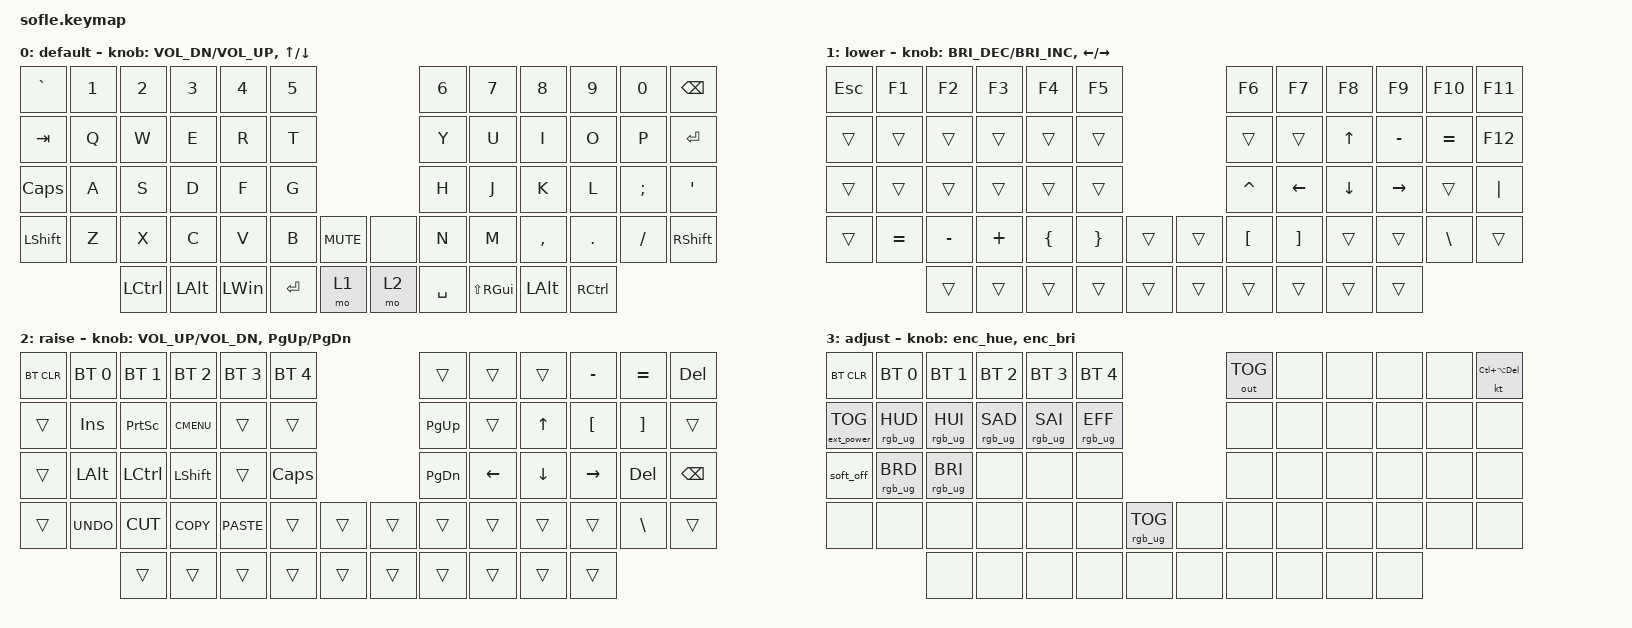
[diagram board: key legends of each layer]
/*
 * Copyright (c) 2020 The ZMK Contributors
 *
 * SPDX-License-Identifier: MIT
 */

#include <behaviors.dtsi>
#include <dt-bindings/zmk/bt.h>
#include <dt-bindings/zmk/ext_power.h>
#include <dt-bindings/zmk/keys.h>
#include <dt-bindings/zmk/outputs.h>
#include <dt-bindings/zmk/rgb.h>

#define BASE 0
#define LOWER 1
#define RAISE 2
#define ADJUST 3

/ {
    /* --------- Encoder rotate behaviors for RGB on ADJUST --------- */

    behaviors {
        enc_hue: enc_hue {
            compatible = "zmk,behavior-sensor-rotate";
            #sensor-binding-cells = <0>;

            /* Hue: increase, decrease */

            bindings = <&rgb_ug RGB_HUI>, <&rgb_ug RGB_HUD>;
        };

        enc_sat: enc_sat {
            compatible = "zmk,behavior-sensor-rotate";
            #sensor-binding-cells = <0>;

            /* Saturation: increase, decrease */

            bindings = <&rgb_ug RGB_SAI>, <&rgb_ug RGB_SAD>;
        };

        enc_bri: enc_bri {
            compatible = "zmk,behavior-sensor-rotate";
            #sensor-binding-cells = <0>;

            /* Brightness: increase, decrease */

            bindings = <&rgb_ug RGB_BRI>, <&rgb_ug RGB_BRD>;
        };

        /* Optional encoder-press helpers (keep #binding-cells for tap behaviors) */

        enc_eff_next: enc_eff_next {
            compatible = "zmk,behavior-tap";
            #binding-cells = <0>;
            bindings = <&rgb_ug RGB_EFF>;   /* Effect next */
        };

        enc_toggle: enc_toggle {
            compatible = "zmk,behavior-tap";
            #binding-cells = <0>;
            bindings = <&rgb_ug RGB_TOG>;   /* Toggle on/off */
        };
    };

    // Activate ADJUST layer by pressing raise and lower

    conditional_layers {
        compatible = "zmk,conditional-layers";

        adjust_layer {
            if-layers = <1 2>;
            then-layer = <3>;
        };
    };

    keymap {
        compatible = "zmk,keymap";

        default_layer {
            display-name = "default";

            // ------------------------------------------------------------------------------------------------------------
            // |   `   |  1  |  2  |  3   |  4   |  5   |                   |  6   |  7    |  8    |  9   |   0   |       |
            // |  ESC  |  Q  |  W  |  E   |  R   |  T   |                   |  Y   |  U    |  I    |  O   |   P   | BKSPC |
            // |  TAB  |  A  |  S  |  D   |  F   |  G   |                   |  H   |  J    |  K    |  L   |   ;   |   '   |
            // | SHIFT |  Z  |  X  |  C   |  V   |  B   |  MUTE  |  |       |  N   |  M    |  ,    |  .   |   /   | SHIFT |
            //               | GUI | ALT  | CTRL | LOWER|  ENTER |  | SPACE | RAISE| CTRL  | ALT   | GUI  |

            bindings = <
&kp GRAVE       &kp N1  &kp N2     &kp N3    &kp N4        &kp N5                          &kp N6     &kp N7             &kp N8        &kp N9     &kp N0    &kp BACKSPACE
&kp TAB         &kp Q   &kp W      &kp E     &kp R         &kp T                           &kp Y      &kp U              &kp I         &kp O      &kp P     &kp ENTER
&kp CAPS        &kp A   &kp S      &kp D     &kp F         &kp G                           &kp H      &kp J              &kp K         &kp L      &kp SEMI  &kp SQT
&kp LEFT_SHIFT  &kp Z   &kp X      &kp C     &kp V         &kp B      &kp C_MUTE    &none  &kp N      &kp M              &kp COMMA     &kp DOT    &kp FSLH  &kp RSHFT
                        &kp LCTRL  &kp LALT  &kp LEFT_WIN  &kp ENTER  &mo 1         &mo 2  &kp SPACE  &kp LS(RIGHT_GUI)  &kp LEFT_ALT  &kp RCTRL
            >;

            /* Your original encoders: Vol up/down (left), Page up/down (right) */

            sensor-bindings =
                <&inc_dec_kp C_VOL_DN C_VOL_UP>,
                <&inc_dec_kp UP_ARROW DOWN_ARROW>;
        };

        lower_layer {
            display-name = "lower";

            // ------------------------------------------------------------------------------------------------------------
            // |       |  F1 |  F2 |  F3  |  F4  |  F5  |                   |  F6  |  F7   |  F8   |  F9  |  F10  |  F11  |
            // |   `   |  1  |  2  |  3   |  4   |  5   |                   |  6   |  7    |  8    |  9   |   0   |  F12  |
            // |       |  !  |  @  |  #   |  $   |  %   |                   |  ^   |  &    |  *    |  (   |   )   |   |   |
            // |       |  =  |  -  |  +   |  {   |  }   |        |  |       |  [   |  ]    |  ;    |  :   |   \   |       |
            //               |     |      |      |      |        |  |       |      |       |       |      |

            bindings = <
&kp ESCAPE  &kp F1     &kp F2     &kp F3    &kp F4    &kp F5                      &kp F6     &kp F7          &kp F8        &kp F9     &kp F10    &kp F11
&trans      &trans     &trans     &trans    &trans    &trans                      &trans     &trans          &kp UP_ARROW  &kp MINUS  &kp EQUAL  &kp F12
&trans      &trans     &trans     &trans    &trans    &trans                      &kp CARET  &kp LEFT_ARROW  &kp DOWN      &kp RIGHT  &trans     &kp PIPE
&trans      &kp EQUAL  &kp MINUS  &kp PLUS  &kp LBRC  &kp RBRC  &trans    &trans  &kp LBKT   &kp RBKT        &trans        &trans     &kp BSLH   &trans
                       &trans     &trans    &trans    &trans    &trans    &trans  &trans     &trans          &trans        &trans
            >;

            sensor-bindings =
                <&inc_dec_kp C_BRIGHTNESS_DEC C_BRIGHTNESS_INC>,
                <&inc_dec_kp LEFT RIGHT>;
        };

        raise_layer {
            display-name = "raise";

            // ------------------------------------------------------------------------------------------------------------
            // | BTCLR | BT1  | BT2  |  BT3  |  BT4  |  BT5 |                |      |      |       |      |       |       |
            // |       | INS  | PSCR | GUI   |       |      |                | PGUP |      |   ^   |      |       |       |
            // |       | ALT  | CTRL | SHIFT |       | CAPS |                | PGDN |   <- |   v   |  ->  |  DEL  | BKSPC |
            // |       | UNDO | CUT  | COPY  | PASTE |      |      |  |      |      |      |       |      |       |       |
            //                |      |       |       |      |      |  |      |      |      |       |      |

            bindings = <
&bt BT_CLR  &bt BT_SEL 0  &bt BT_SEL 1  &bt BT_SEL 2  &bt BT_SEL 3  &bt BT_SEL 4                    &trans     &trans    &trans    &kp MINUS         &kp EQUAL          &kp DELETE
&trans      &kp INS       &kp PSCRN     &kp K_CMENU   &trans        &trans                          &kp PG_UP  &trans    &kp UP    &kp LEFT_BRACKET  &kp RIGHT_BRACKET  &trans
&trans      &kp LALT      &kp LCTRL     &kp LSHFT     &trans        &kp CLCK                        &kp PG_DN  &kp LEFT  &kp DOWN  &kp RIGHT         &kp DEL            &kp BSPC
&trans      &kp K_UNDO    &kp K_CUT     &kp K_COPY    &kp K_PASTE   &trans        &trans    &trans  &trans     &trans    &trans    &trans            &kp BACKSLASH      &trans
                          &trans        &trans        &trans        &trans        &trans    &trans  &trans     &trans    &trans    &trans
            >;

            sensor-bindings = <&inc_dec_kp C_VOL_UP C_VOL_DN &inc_dec_kp PG_UP PG_DN>;
        };

        adjust_layer {
            display-name = "adjust";

            // ----------------------------------------------------------------------------------------------------------------------------
            // | BTCLR  |  BT1    |  BT2    |   BT3   |   BT4   |   BT5   |                  |      |      |       |      |       |       |
            // | EXTPWR | RGB_HUD | RGB_HUI | RGB_SAD | RGB_SAI | RGB_EFF |                  |      |      |       |      |       |       |
            // |        | RGB_BRD | RGB_BRI |         |         |         |                  |      |      |       |      |       |       |
            // |        |         |         |         |         |         | RGB_TOG | |      |      |      |       |      |       |       |
            //                    |         |         |         |         |         | |      |      |      |       |

            bindings = <
&bt BT_CLR         &bt BT_SEL 0     &bt BT_SEL 1     &bt BT_SEL 2     &bt BT_SEL 3     &bt BT_SEL 4                               &out OUT_TOG  &none  &none  &none  &none  &kt LC(LA(DEL))
&ext_power EP_TOG  &rgb_ug RGB_HUD  &rgb_ug RGB_HUI  &rgb_ug RGB_SAD  &rgb_ug RGB_SAI  &rgb_ug RGB_EFF                            &none         &none  &none  &none  &none  &none
&soft_off          &rgb_ug RGB_BRD  &rgb_ug RGB_BRI  &none            &none            &none                                      &none         &none  &none  &none  &none  &none
&none              &none            &none            &none            &none            &none            &rgb_ug RGB_TOG    &none  &none         &none  &none  &none  &none  &none
                                    &none            &none            &none            &none            &none              &none  &none         &none  &none  &none
            >;

            /* On ADJUST: encoders control RGB
             *   Left  = Hue (CW/CCW)
             *   Right = Brightness (CW/CCW)
             * Optional (uncomment if encoder presses are wired):
             *   sensor-press-bindings = <&enc_eff_next &enc_toggle>;
             */

            sensor-bindings = <&enc_hue &enc_bri>;

            // sensor-press-bindings = <&enc_eff_next &enc_toggle>;
        };
    };
};
